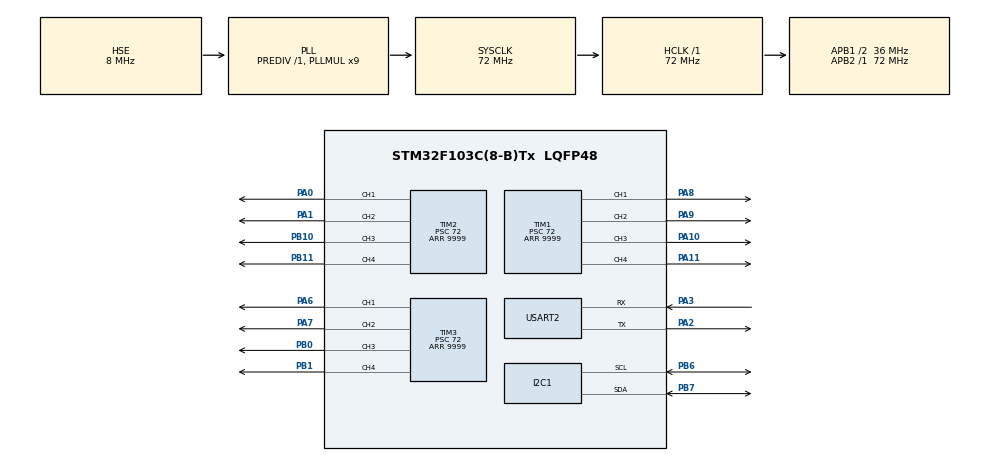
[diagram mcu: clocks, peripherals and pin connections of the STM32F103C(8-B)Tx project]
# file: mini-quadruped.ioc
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I2C1.I2C_Mode=I2C_Fast
Mcu.Family=STM32F1
Mcu.Name=STM32F103C(8-B)Tx
Mcu.Package=LQFP48
NVIC.PriorityGroup=NVIC_PRIORITYGROUP_4
NVIC.USART2_IRQn=true\:0\:0\:false\:false\:true\:true\:true
PA0-WKUP.Signal=S_TIM2_CH1_ETR
PA1.Signal=S_TIM2_CH2
PA10.Signal=S_TIM1_CH3
PA11.Signal=S_TIM1_CH4
PA13.Mode=Serial_Wire
PA13.Signal=SYS_JTMS-SWDIO
PA14.Mode=Serial_Wire
PA14.Signal=SYS_JTCK-SWCLK
PA2.Mode=Asynchronous
PA2.Signal=USART2_TX
PA3.Mode=Asynchronous
PA3.Signal=USART2_RX
PA6.Signal=S_TIM3_CH1
PA7.Signal=S_TIM3_CH2
PA8.Signal=S_TIM1_CH1
PA9.Signal=S_TIM1_CH2
PB0.Signal=S_TIM3_CH3
PB1.Signal=S_TIM3_CH4
PB10.Signal=S_TIM2_CH3
PB11.Signal=S_TIM2_CH4
PB6.Mode=I2C
PB6.Signal=I2C1_SCL
PB7.Mode=I2C
PB7.Signal=I2C1_SDA
PC14-OSC32_IN.Mode=LSE-External-Oscillator
PC14-OSC32_IN.Signal=RCC_OSC32_IN
PC15-OSC32_OUT.Mode=LSE-External-Oscillator
PC15-OSC32_OUT.Signal=RCC_OSC32_OUT
PD0-OSC_IN.Mode=HSE-External-Oscillator
PD0-OSC_IN.Signal=RCC_OSC_IN
PD1-OSC_OUT.Mode=HSE-External-Oscillator
PD1-OSC_OUT.Signal=RCC_OSC_OUT
ProjectManager.HeapSize=0x200
ProjectManager.StackSize=0x400
ProjectManager.TargetToolchain=STM32CubeIDE
RCC.AHBFreq_Value=72000000
RCC.APB1CLKDivider=RCC_HCLK_DIV2
RCC.APB1Freq_Value=36000000
RCC.APB1TimFreq_Value=72000000
RCC.APB2Freq_Value=72000000
RCC.APB2TimFreq_Value=72000000
RCC.HCLKFreq_Value=72000000
RCC.PLLMUL=RCC_PLL_MUL9
RCC.PLLSourceVirtual=RCC_PLLSOURCE_HSE
RCC.SYSCLKFreq_VALUE=72000000
RCC.SYSCLKSource=RCC_SYSCLKSOURCE_PLLCLK
RCC.USBFreq_Value=72000000
SH.S_TIM1_CH1.0=TIM1_CH1,PWM Generation1 CH1
SH.S_TIM1_CH2.0=TIM1_CH2,PWM Generation2 CH2
SH.S_TIM1_CH3.0=TIM1_CH3,PWM Generation3 CH3
SH.S_TIM1_CH4.0=TIM1_CH4,PWM Generation4 CH4
SH.S_TIM2_CH1_ETR.0=TIM2_CH1,PWM Generation1 CH1
SH.S_TIM2_CH2.0=TIM2_CH2,PWM Generation2 CH2
SH.S_TIM2_CH3.0=TIM2_CH3,PWM Generation3 CH3
SH.S_TIM2_CH4.0=TIM2_CH4,PWM Generation4 CH4
SH.S_TIM3_CH1.0=TIM3_CH1,PWM Generation1 CH1
SH.S_TIM3_CH2.0=TIM3_CH2,PWM Generation2 CH2
SH.S_TIM3_CH3.0=TIM3_CH3,PWM Generation3 CH3
SH.S_TIM3_CH4.0=TIM3_CH4,PWM Generation4 CH4
TIM1.AutoReloadPreload=TIM_AUTORELOAD_PRELOAD_ENABLE
TIM1.Channel-PWM\ Generation1\ CH1=TIM_CHANNEL_1
TIM1.Channel-PWM\ Generation2\ CH2=TIM_CHANNEL_2
TIM1.Channel-PWM\ Generation3\ CH3=TIM_CHANNEL_3
TIM1.Channel-PWM\ Generation4\ CH4=TIM_CHANNEL_4
TIM1.Period=9999
TIM1.Prescaler=72
TIM2.AutoReloadPreload=TIM_AUTORELOAD_PRELOAD_ENABLE
TIM2.Channel-PWM\ Generation1\ CH1=TIM_CHANNEL_1
TIM2.Channel-PWM\ Generation2\ CH2=TIM_CHANNEL_2
TIM2.Channel-PWM\ Generation3\ CH3=TIM_CHANNEL_3
TIM2.Channel-PWM\ Generation4\ CH4=TIM_CHANNEL_4
TIM2.Period=9999
TIM2.Prescaler=72
TIM3.AutoReloadPreload=TIM_AUTORELOAD_PRELOAD_ENABLE
TIM3.Channel-PWM\ Generation1\ CH1=TIM_CHANNEL_1
TIM3.Channel-PWM\ Generation2\ CH2=TIM_CHANNEL_2
TIM3.Channel-PWM\ Generation3\ CH3=TIM_CHANNEL_3
TIM3.Channel-PWM\ Generation4\ CH4=TIM_CHANNEL_4
TIM3.Period=9999
TIM3.Prescaler=72
USART2.VirtualMode=VM_ASYNC
VP_TIM1_VS_ClockSourceINT.Mode=Internal
VP_TIM2_VS_ClockSourceINT.Mode=Internal
VP_TIM3_VS_ClockSourceINT.Mode=Internal
board=custom

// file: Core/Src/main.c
/* USER CODE BEGIN Header */
/**
  ******************************************************************************
  * @file           : main.c
  * @brief          : Main program body
  ******************************************************************************
  * @attention
  *
  * MIT License

  * Copyright (c) 2021 nicoRomeroCuruchet

  * Permission is hereby granted, free of charge, to any person obtaining a copy
  * of this software and associated documentation files (the "Software"), to deal
  * in the Software without restriction, including without limitation the rights
  * to use, copy, modify, merge, publish, distribute, sublicense, and/or sell
  * copies of the Software, and to permit persons to whom the Software is
  * furnished to do so, subject to the following conditions:

  * The above copyright notice and this permission notice shall be included in all
  * copies or substantial portions of the Software.

  * THE SOFTWARE IS PROVIDED "AS IS", WITHOUT WARRANTY OF ANY KIND, EXPRESS OR
  * IMPLIED, INCLUDING BUT NOT LIMITED TO THE WARRANTIES OF MERCHANTABILITY,
  * FITNESS FOR A PARTICULAR PURPOSE AND NONINFRINGEMENT. IN NO EVENT SHALL THE
  * AUTHORS OR COPYRIGHT HOLDERS BE LIABLE FOR ANY CLAIM, DAMAGES OR OTHER
  * LIABILITY, WHETHER IN AN ACTION OF CONTRACT, TORT OR OTHERWISE, ARISING FROM,
  * OUT OF OR IN CONNECTION WITH THE SOFTWARE OR THE USE OR OTHER DEALINGS IN THE
  * SOFTWARE.
  *
  ******************************************************************************
  */
/* USER CODE END Header */
#include "main.h"
#include "servo_configuration.h"
#include "mpu6050.h"
#include "inverse_kinematics.h"

/* USER CODE BEGIN Includes */
#include <math.h>
#include <stdlib.h>
#include <string.h>
/* USER CODE END Includes */

/* USER CODE BEGIN PD */

#define MIN(X, Y) (((X) < (Y)) ? (X) : (Y))
#define MAX(X, Y) (((X) > (Y)) ? (X) : (Y))

#define RAD_TO_DEG 	57.295779513082320876798154814105
#define PI 			3.141592653589793

#define L1  45
#define L2  78
#define L3  80

#define TRANSMITED_BYTES 15

#define MAX_PHI   0.4
#define MAX_PSI   0.35
#define MAX_THETA 0.35

#define PID_KALMAN_PSI   0.05
#define PID_KALMAN_THETA 0.05

#define torso_lenght 150
#define torso_width  90

/* USER CODE END PD */

I2C_HandleTypeDef hi2c1;

TIM_HandleTypeDef htim1;
TIM_HandleTypeDef htim2;
TIM_HandleTypeDef htim3;

UART_HandleTypeDef huart2;

/* USER CODE BEGIN PV */
uint8_t rx_buffer[TRANSMITED_BYTES] = {0,0,0,0,0,
									   0,0,0,0,0,
									   0,0,'x','x','x'};

/* USER CODE END PV */

void SystemClock_Config(void);
static void MX_GPIO_Init(void);
static void MX_TIM1_Init(void);
static void MX_TIM2_Init(void);
static void MX_TIM3_Init(void);
static void MX_I2C1_Init(void);
static void MX_USART2_UART_Init(void);

int main(void)
{

  /* MCU Configuration--------------------------------------------------------*/

  /* Reset of all peripherals, Initializes the Flash interface and the Systick. */
  HAL_Init();

  /* Configure the system clock */
  SystemClock_Config();

  /* Initialize all configured peripherals */
  MX_GPIO_Init();
  MX_TIM1_Init();
  MX_TIM2_Init();
  MX_TIM3_Init();
  MX_I2C1_Init();
  MX_USART2_UART_Init();
  /* USER CODE BEGIN 2 */
  HAL_TIM_PWM_Start(&htim1, TIM_CHANNEL_1);
  HAL_TIM_PWM_Start(&htim1, TIM_CHANNEL_2);
  HAL_TIM_PWM_Start(&htim1, TIM_CHANNEL_3);
  HAL_TIM_PWM_Start(&htim1, TIM_CHANNEL_4);

  HAL_TIM_PWM_Start(&htim2, TIM_CHANNEL_1);
  HAL_TIM_PWM_Start(&htim2, TIM_CHANNEL_2);
  HAL_TIM_PWM_Start(&htim2, TIM_CHANNEL_3);
  HAL_TIM_PWM_Start(&htim2, TIM_CHANNEL_4);

  HAL_TIM_PWM_Start(&htim3, TIM_CHANNEL_1);
  HAL_TIM_PWM_Start(&htim3, TIM_CHANNEL_2);
  HAL_TIM_PWM_Start(&htim3, TIM_CHANNEL_3);
  HAL_TIM_PWM_Start(&htim3, TIM_CHANNEL_4);

  HAL_UART_Receive_IT(&huart2, rx_buffer, TRANSMITED_BYTES);
  uint8_t res;

  do
  {
	res = MPU6050_Init(&hi2c1);
	if(res !=0)
	{
		HAL_Delay(500);
		HAL_I2C_DeInit(&hi2c1);  // reinitialize the I2C peripheral
		HAL_Delay(500);
		HAL_I2C_Init(&hi2c1);
	}

  } while(res != 0);

  MPU6050_t mpu;
  float distant_y = -70;
  /* Right Front Leg */
  float rf_r_m_o[3] = {torso_lenght * 0.5, 0.0, torso_width * 0.5};   			    // system o right front measure from m.
  float rf_m_l[3]   = {torso_lenght * 0.5 - 30, distant_y,  L1 + (torso_width * 0.5)};   // right front tip of the foot measure from m.
  /* Right Rear Leg */
  float rr_r_m_o[3] = {-torso_lenght * 0.5, 0.0, torso_width * 0.5};		        // system o right rear measure from m.
  float rr_m_l[3]   = {-20-torso_lenght * 0.5, distant_y,  L1 + (torso_width * 0.5)};  // right rear tip of the foot measure from m.
  /* Left Front Leg */
  float lf_r_m_o[3] = {torso_lenght * 0.5, 0.0, -torso_width*0.5};                  // system o left front measure from m.
  float lf_m_l[3]   = {torso_lenght * 0.5 - 30, distant_y, -L1 - (torso_width*0.5)};     // left front tip of the foot measure from m.
  /* Left Rear Leg */
  float lr_r_m_o[3] = {-torso_lenght*0.5, 0.0, -torso_width*0.5};				    // system o left rear measure from m.
  float lr_m_l[3]   = {-20-torso_lenght*0.5, distant_y, -L1 - (torso_width*0.5)};	    // left rear tip of the foot measure from m.

  float rf_ik_res[3];
  float rf_rotated[3];
  float rf_r_o_rot[3];

  float rr_ik_res[3];
  float rr_rotated[3];
  float rr_r_o_rot[3];

  float lf_ik_res[3];
  float lf_rotated[3];
  float lf_r_o_rot[3];

  float lr_ik_res[3];
  float lr_rotated[3];
  float lr_r_o_rot[3];

  float T[3] = {0,10.0,0};
  float psi   = 0.0;   // Rot Z
  float phi   = 0.0;   // Rot Y
  float theta = 0.0;   // Rot X

  float error_psi;
  float set_point_psi = 0.0;
  float error_theta;
  float set_point_theta = 0.0;
  float error_phi = 0.0;
  float error_phi_prev = 0.0;
  char phi_buffer[5] = {0,0,0,0,0};
  char psi_buffer[5] = {0,0,0,0,0};

  while (1)
  {
    /* USER CODE BEGIN 3 */
	if (rx_buffer[12] == 'x' &&
		rx_buffer[13] == 'x' &&
		rx_buffer[14] == 'x')
	{
		MPU6050_Read_All(&hi2c1, &mpu);

		error_psi   = set_point_psi     - ((mpu.KalmanAngleX)*PI/180);
		error_theta = set_point_theta   - ((mpu.KalmanAngleY)*PI/180);

		psi   += PID_KALMAN_PSI*error_psi;
		theta += PID_KALMAN_THETA*error_theta;
		phi = phi*0.97;
	}
	else
	{

		for(int i=0; i<5; ++i)
		{
			phi_buffer[i] = rx_buffer[i];
			psi_buffer[i] = rx_buffer[i+5];
		}

		error_phi = (float)(atof(phi_buffer));
		error_psi = (float)(atof(psi_buffer));

		phi += 0.08*error_phi + 0.002*(error_phi - error_phi_prev);
		error_phi_prev = error_phi;
		psi += 0.04*error_psi;
	}

	// limits
	if(phi >  MAX_PHI)      phi   =  MAX_PHI;
	if(phi < -MAX_PHI)      phi   = -MAX_PHI;

	if(psi >  MAX_PSI)      psi   =  MAX_PSI;
	if(psi < -MAX_PSI)      psi   = -MAX_PSI;

	if(theta >  MAX_THETA)  theta =  MAX_THETA;
	if(theta < -MAX_THETA)  theta = -MAX_THETA;

	/* 1 - Right Front */
	roto_translation(psi, phi, theta, T, rf_r_m_o, rf_rotated);
	subtract(rf_m_l, rf_rotated, rf_r_o_rot);
	inverse_kinematics(rf_r_o_rot, L1, L2, L3,'r', rf_ik_res);
	/* 2 - Right Rear */
	roto_translation(psi, phi, theta, T, rr_r_m_o, rr_rotated);
	subtract(rr_m_l, rr_rotated, rr_r_o_rot);
	inverse_kinematics(rr_r_o_rot, L1, L2, L3,'r', rr_ik_res);
	/* 3 - Left Front */
	roto_translation(psi, phi, theta, T, lf_r_m_o, lf_rotated);
	subtract(lf_m_l, lf_rotated, lf_r_o_rot);
	inverse_kinematics(lf_r_o_rot, L1, L2, L3,'l', lf_ik_res);
	/* 4 - Left Rear */
	roto_translation(psi, phi, theta, T, lr_r_m_o, lr_rotated);
	subtract(lr_m_l, lr_rotated, lr_r_o_rot);
	inverse_kinematics(lr_r_o_rot, L1, L2, L3,'l', lr_ik_res);

	LR_servo_ii  = round(MAX(MIN(LR_a_servo_ii*lr_ik_res[1]  + LR_b_servo_ii,  MAX_LR_servo_ii),  MIN_LR_servo_ii));
	LR_servo_iii = round(MAX(MIN(LR_a_servo_iii*lr_ik_res[2] + LR_b_servo_iii, MAX_LR_servo_iii), MIN_LR_servo_iii));
	LR_servo_i   = round(MAX(MIN(LR_a_servo_i*lr_ik_res[0]   + LR_b_servo_i,   MAX_LR_servo_i),   MIN_LR_servo_i));

	LF_servo_ii  = round(MAX(MIN(LF_a_servo_ii*lf_ik_res[1]  + LF_b_servo_ii,  MAX_LF_servo_ii),  MIN_LF_servo_ii));
	LF_servo_iii = round(MAX(MIN(LF_a_servo_iii*lf_ik_res[2] + LF_b_servo_iii, MAX_LF_servo_iii), MIN_LF_servo_iii));
	LF_servo_i   = round(MAX(MIN(LF_a_servo_i*lf_ik_res[0]   + LF_b_servo_i,   MAX_LF_servo_i),   MIN_LF_servo_i));

	RR_servo_ii  = round(MAX(MIN(RR_a_servo_ii*rr_ik_res[1]  + RR_b_servo_ii,  MAX_RR_servo_ii),  MIN_RR_servo_ii));
	RR_servo_iii = round(MAX(MIN(RR_a_servo_iii*rr_ik_res[2] + RR_b_servo_iii, MAX_RR_servo_iii), MIN_RR_servo_iii));
	RR_servo_i   = round(MAX(MIN(RR_a_servo_i*rr_ik_res[0]   + RR_b_servo_i,   MAX_RR_servo_i),   MIN_RR_servo_i));

	RF_servo_ii  = round(MAX(MIN(RF_a_servo_ii*rf_ik_res[1]  + RF_b_servo_ii,  MAX_RF_servo_ii),  MIN_RF_servo_ii));
	RF_servo_iii = round(MAX(MIN(RF_a_servo_iii*rf_ik_res[2] + RF_b_servo_iii, MAX_RF_servo_iii), MIN_RF_servo_iii));
	RF_servo_i   = round(MAX(MIN(RF_a_servo_i*rf_ik_res[0]   + RF_b_servo_i,   MAX_RF_servo_i),   MIN_RF_servo_i));
  }
  /* USER CODE END 3 */
}

void SystemClock_Config(void)
{
  RCC_OscInitTypeDef RCC_OscInitStruct = {0};
  RCC_ClkInitTypeDef RCC_ClkInitStruct = {0};

  /** Initializes the RCC Oscillators according to the specified parameters
  * in the RCC_OscInitTypeDef structure.
  */
  RCC_OscInitStruct.OscillatorType = RCC_OSCILLATORTYPE_HSE;
  RCC_OscInitStruct.HSEState = RCC_HSE_ON;
  RCC_OscInitStruct.HSEPredivValue = RCC_HSE_PREDIV_DIV1;
  RCC_OscInitStruct.HSIState = RCC_HSI_ON;
  RCC_OscInitStruct.PLL.PLLState = RCC_PLL_ON;
  RCC_OscInitStruct.PLL.PLLSource = RCC_PLLSOURCE_HSE;
  RCC_OscInitStruct.PLL.PLLMUL = RCC_PLL_MUL9;
  if (HAL_RCC_OscConfig(&RCC_OscInitStruct) != HAL_OK)
  {
    Error_Handler();
  }
  /** Initializes the CPU, AHB and APB buses clocks
  */
  RCC_ClkInitStruct.ClockType = RCC_CLOCKTYPE_HCLK|RCC_CLOCKTYPE_SYSCLK
                              |RCC_CLOCKTYPE_PCLK1|RCC_CLOCKTYPE_PCLK2;
  RCC_ClkInitStruct.SYSCLKSource = RCC_SYSCLKSOURCE_PLLCLK;
  RCC_ClkInitStruct.AHBCLKDivider = RCC_SYSCLK_DIV1;
  RCC_ClkInitStruct.APB1CLKDivider = RCC_HCLK_DIV2;
  RCC_ClkInitStruct.APB2CLKDivider = RCC_HCLK_DIV1;

  if (HAL_RCC_ClockConfig(&RCC_ClkInitStruct, FLASH_LATENCY_2) != HAL_OK)
  {
    Error_Handler();
  }
}

static void MX_I2C1_Init(void)
{

  hi2c1.Instance = I2C1;
  hi2c1.Init.ClockSpeed = 400000;
  hi2c1.Init.DutyCycle = I2C_DUTYCYCLE_2;
  hi2c1.Init.OwnAddress1 = 0;
  hi2c1.Init.AddressingMode = I2C_ADDRESSINGMODE_7BIT;
  hi2c1.Init.DualAddressMode = I2C_DUALADDRESS_DISABLE;
  hi2c1.Init.OwnAddress2 = 0;
  hi2c1.Init.GeneralCallMode = I2C_GENERALCALL_DISABLE;
  hi2c1.Init.NoStretchMode = I2C_NOSTRETCH_DISABLE;
  if (HAL_I2C_Init(&hi2c1) != HAL_OK)
  {
    Error_Handler();
  }

}

static void MX_TIM1_Init(void)
{

  TIM_ClockConfigTypeDef sClockSourceConfig = {0};
  TIM_MasterConfigTypeDef sMasterConfig = {0};
  TIM_OC_InitTypeDef sConfigOC = {0};
  TIM_BreakDeadTimeConfigTypeDef sBreakDeadTimeConfig = {0};

  htim1.Instance = TIM1;
  htim1.Init.Prescaler = 72;
  htim1.Init.CounterMode = TIM_COUNTERMODE_UP;
  htim1.Init.Period = 9999;
  htim1.Init.ClockDivision = TIM_CLOCKDIVISION_DIV1;
  htim1.Init.RepetitionCounter = 0;
  htim1.Init.AutoReloadPreload = TIM_AUTORELOAD_PRELOAD_ENABLE;
  if (HAL_TIM_Base_Init(&htim1) != HAL_OK)
  {
    Error_Handler();
  }
  sClockSourceConfig.ClockSource = TIM_CLOCKSOURCE_INTERNAL;
  if (HAL_TIM_ConfigClockSource(&htim1, &sClockSourceConfig) != HAL_OK)
  {
    Error_Handler();
  }
  if (HAL_TIM_PWM_Init(&htim1) != HAL_OK)
  {
    Error_Handler();
  }
  sMasterConfig.MasterOutputTrigger = TIM_TRGO_RESET;
  sMasterConfig.MasterSlaveMode = TIM_MASTERSLAVEMODE_DISABLE;
  if (HAL_TIMEx_MasterConfigSynchronization(&htim1, &sMasterConfig) != HAL_OK)
  {
    Error_Handler();
  }
  sConfigOC.OCMode = TIM_OCMODE_PWM1;
  sConfigOC.Pulse = 0;
  sConfigOC.OCPolarity = TIM_OCPOLARITY_HIGH;
  sConfigOC.OCNPolarity = TIM_OCNPOLARITY_HIGH;
  sConfigOC.OCFastMode = TIM_OCFAST_DISABLE;
  sConfigOC.OCIdleState = TIM_OCIDLESTATE_RESET;
  sConfigOC.OCNIdleState = TIM_OCNIDLESTATE_RESET;
  if (HAL_TIM_PWM_ConfigChannel(&htim1, &sConfigOC, TIM_CHANNEL_1) != HAL_OK)
  {
    Error_Handler();
  }
  if (HAL_TIM_PWM_ConfigChannel(&htim1, &sConfigOC, TIM_CHANNEL_2) != HAL_OK)
  {
    Error_Handler();
  }
  if (HAL_TIM_PWM_ConfigChannel(&htim1, &sConfigOC, TIM_CHANNEL_3) != HAL_OK)
  {
    Error_Handler();
  }
  if (HAL_TIM_PWM_ConfigChannel(&htim1, &sConfigOC, TIM_CHANNEL_4) != HAL_OK)
  {
    Error_Handler();
  }
  sBreakDeadTimeConfig.OffStateRunMode = TIM_OSSR_DISABLE;
  sBreakDeadTimeConfig.OffStateIDLEMode = TIM_OSSI_DISABLE;
  sBreakDeadTimeConfig.LockLevel = TIM_LOCKLEVEL_OFF;
  sBreakDeadTimeConfig.DeadTime = 0;
  sBreakDeadTimeConfig.BreakState = TIM_BREAK_DISABLE;
  sBreakDeadTimeConfig.BreakPolarity = TIM_BREAKPOLARITY_HIGH;
  sBreakDeadTimeConfig.AutomaticOutput = TIM_AUTOMATICOUTPUT_DISABLE;
  if (HAL_TIMEx_ConfigBreakDeadTime(&htim1, &sBreakDeadTimeConfig) != HAL_OK)
  {
    Error_Handler();
  }
  HAL_TIM_MspPostInit(&htim1);

}

static void MX_TIM2_Init(void)
{

  TIM_ClockConfigTypeDef sClockSourceConfig = {0};
  TIM_MasterConfigTypeDef sMasterConfig = {0};
  TIM_OC_InitTypeDef sConfigOC = {0};

  htim2.Instance = TIM2;
  htim2.Init.Prescaler = 72;
  htim2.Init.CounterMode = TIM_COUNTERMODE_UP;
  htim2.Init.Period = 9999;
  htim2.Init.ClockDivision = TIM_CLOCKDIVISION_DIV1;
  htim2.Init.AutoReloadPreload = TIM_AUTORELOAD_PRELOAD_ENABLE;
  if (HAL_TIM_Base_Init(&htim2) != HAL_OK)
  {
    Error_Handler();
  }
  sClockSourceConfig.ClockSource = TIM_CLOCKSOURCE_INTERNAL;
  if (HAL_TIM_ConfigClockSource(&htim2, &sClockSourceConfig) != HAL_OK)
  {
    Error_Handler();
  }
  if (HAL_TIM_PWM_Init(&htim2) != HAL_OK)
  {
    Error_Handler();
  }
  sMasterConfig.MasterOutputTrigger = TIM_TRGO_RESET;
  sMasterConfig.MasterSlaveMode = TIM_MASTERSLAVEMODE_DISABLE;
  if (HAL_TIMEx_MasterConfigSynchronization(&htim2, &sMasterConfig) != HAL_OK)
  {
    Error_Handler();
  }
  sConfigOC.OCMode = TIM_OCMODE_PWM1;
  sConfigOC.Pulse = 0;
  sConfigOC.OCPolarity = TIM_OCPOLARITY_HIGH;
  sConfigOC.OCFastMode = TIM_OCFAST_DISABLE;
  if (HAL_TIM_PWM_ConfigChannel(&htim2, &sConfigOC, TIM_CHANNEL_1) != HAL_OK)
  {
    Error_Handler();
  }
  if (HAL_TIM_PWM_ConfigChannel(&htim2, &sConfigOC, TIM_CHANNEL_2) != HAL_OK)
  {
    Error_Handler();
  }
  if (HAL_TIM_PWM_ConfigChannel(&htim2, &sConfigOC, TIM_CHANNEL_3) != HAL_OK)
  {
    Error_Handler();
  }
  if (HAL_TIM_PWM_ConfigChannel(&htim2, &sConfigOC, TIM_CHANNEL_4) != HAL_OK)
  {
    Error_Handler();
  }
  HAL_TIM_MspPostInit(&htim2);

}

static void MX_TIM3_Init(void)
{

  TIM_ClockConfigTypeDef sClockSourceConfig = {0};
  TIM_MasterConfigTypeDef sMasterConfig = {0};
  TIM_OC_InitTypeDef sConfigOC = {0};

  htim3.Instance = TIM3;
  htim3.Init.Prescaler = 72;
  htim3.Init.CounterMode = TIM_COUNTERMODE_UP;
  htim3.Init.Period = 9999;
  htim3.Init.ClockDivision = TIM_CLOCKDIVISION_DIV1;
  htim3.Init.AutoReloadPreload = TIM_AUTORELOAD_PRELOAD_ENABLE;
  if (HAL_TIM_Base_Init(&htim3) != HAL_OK)
  {
    Error_Handler();
  }
  sClockSourceConfig.ClockSource = TIM_CLOCKSOURCE_INTERNAL;
  if (HAL_TIM_ConfigClockSource(&htim3, &sClockSourceConfig) != HAL_OK)
  {
    Error_Handler();
  }
  if (HAL_TIM_PWM_Init(&htim3) != HAL_OK)
  {
    Error_Handler();
  }
  sMasterConfig.MasterOutputTrigger = TIM_TRGO_RESET;
  sMasterConfig.MasterSlaveMode = TIM_MASTERSLAVEMODE_DISABLE;
  if (HAL_TIMEx_MasterConfigSynchronization(&htim3, &sMasterConfig) != HAL_OK)
  {
    Error_Handler();
  }
  sConfigOC.OCMode = TIM_OCMODE_PWM1;
  sConfigOC.Pulse = 0;
  sConfigOC.OCPolarity = TIM_OCPOLARITY_HIGH;
  sConfigOC.OCFastMode = TIM_OCFAST_DISABLE;
  if (HAL_TIM_PWM_ConfigChannel(&htim3, &sConfigOC, TIM_CHANNEL_1) != HAL_OK)
  {
    Error_Handler();
  }
  if (HAL_TIM_PWM_ConfigChannel(&htim3, &sConfigOC, TIM_CHANNEL_2) != HAL_OK)
  {
    Error_Handler();
  }
  if (HAL_TIM_PWM_ConfigChannel(&htim3, &sConfigOC, TIM_CHANNEL_3) != HAL_OK)
  {
    Error_Handler();
  }
  if (HAL_TIM_PWM_ConfigChannel(&htim3, &sConfigOC, TIM_CHANNEL_4) != HAL_OK)
  {
    Error_Handler();
  }
  HAL_TIM_MspPostInit(&htim3);

}

static void MX_USART2_UART_Init(void)
{

  huart2.Instance = USART2;
  huart2.Init.BaudRate = 115200;
  huart2.Init.WordLength = UART_WORDLENGTH_8B;
  huart2.Init.StopBits = UART_STOPBITS_1;
  huart2.Init.Parity = UART_PARITY_NONE;
  huart2.Init.Mode = UART_MODE_TX_RX;
  huart2.Init.HwFlowCtl = UART_HWCONTROL_NONE;
  huart2.Init.OverSampling = UART_OVERSAMPLING_16;
  if (HAL_UART_Init(&huart2) != HAL_OK)
  {
    Error_Handler();
  }

}

static void MX_GPIO_Init(void)
{

  /* GPIO Ports Clock Enable */
  __HAL_RCC_GPIOC_CLK_ENABLE();
  __HAL_RCC_GPIOD_CLK_ENABLE();
  __HAL_RCC_GPIOA_CLK_ENABLE();
  __HAL_RCC_GPIOB_CLK_ENABLE();

}

/* USER CODE BEGIN 4 */
void HAL_UART_RxCpltCallback(UART_HandleTypeDef *huart)
{
	HAL_UART_Receive_IT(&huart2, rx_buffer, TRANSMITED_BYTES);
}

void HAL_UART_TxCpltCallback(UART_HandleTypeDef* huart)
{

	__NOP();

}
/* USER CODE END 4 */

void Error_Handler(void)
{
  __disable_irq();
  while (1)
  {
  }
}

/************************ (C) COPYRIGHT STMicroelectronics *****END OF FILE****/
